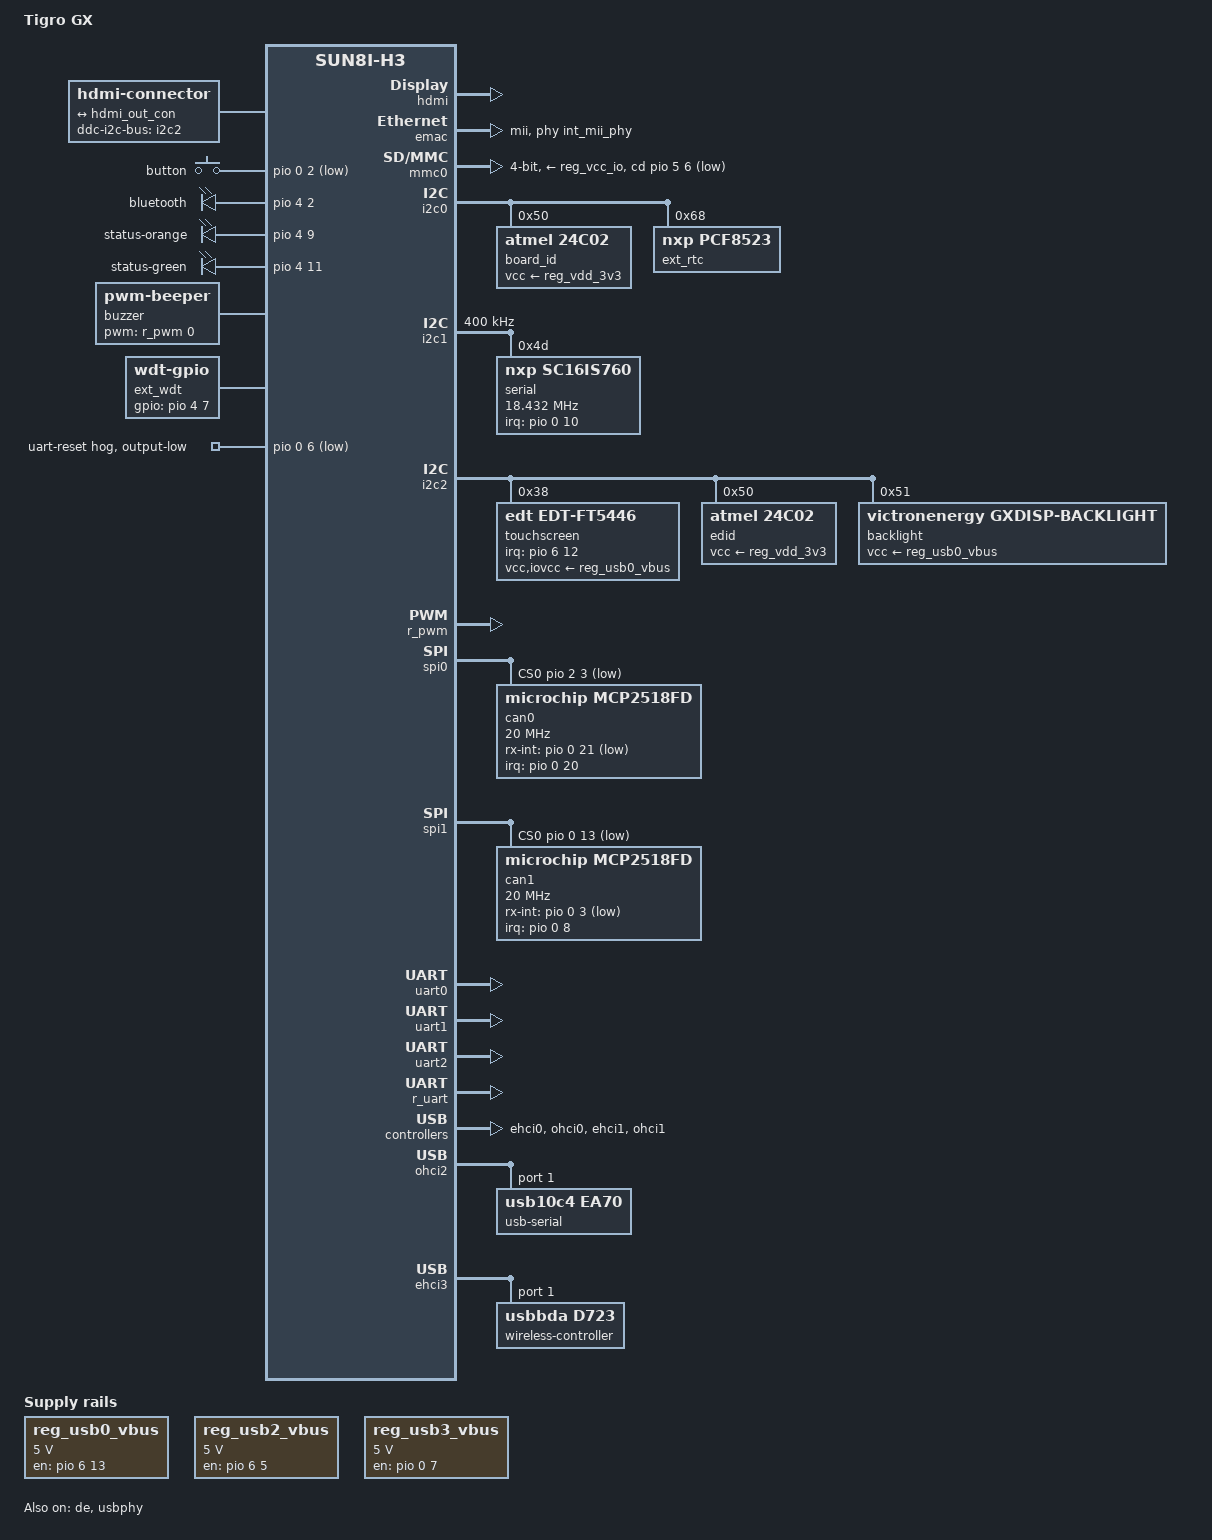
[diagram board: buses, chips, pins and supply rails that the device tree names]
// SPDX-License-Identifier: GPL-2.0 OR X11
/*
 * Copyright (C) 2024 Mans Rullgard <mans@mansr.com>
 */

/dts-v1/;

#include "sun8i-h3-sinh3-core.dtsi"
#include <dt-bindings/input/input.h>

/ {
	model = "Tigro GX";
	compatible = "victronenergy,tigro-gx",
		     "sinlinx,sinh3-core",
		     "allwinner,sun8i-h3";

	aliases {
		ethernet0 = &emac;
		hwmon0 = &cpu_thermal;
		i2c0 = &i2c0;
		i2c1 = &i2c1;
		i2c2 = &i2c2;
		mmc0 = &mmc0;
		mmc1 = &mmc2;
		nvmem0 = &board_id;
		rtc0 = &ext_rtc;
		rtc1 = &rtc;
		serial0 = &uart0;
		serial1 = &uart1;
		serial2 = &uart2;
		serial3 = &r_uart;
		usb-serial0 = &usb_serial0;
		usb-serial1 = &usb_serial1;
		watchdog0 = &ext_wdt;
		watchdog1 = &wdt0;
	};

	hdmi-connector {
		compatible = "hdmi-connector";
		type = "a";
		ddc-i2c-bus = <&i2c2>;

		port {
			hdmi_con_in: endpoint {
				remote-endpoint = <&hdmi_out_con>;
			};
		};
	};

	button {
		compatible = "gpio-keys";

		button {
			linux,code = <KEY_CONFIG>;
			gpios = <&pio 0 2 GPIO_ACTIVE_LOW>; /* PA2 */
		};
	};

	leds {
		compatible = "gpio-leds";

		led-bluetooth {
			label = "bluetooth";
			gpios = <&pio 4 2 GPIO_ACTIVE_HIGH>;	/* PE2 */
			default-state = "off";
		};

		led-status-orange {
			label = "status-orange";
			gpios = <&pio 4 9 GPIO_ACTIVE_HIGH>;	/* PE9 */
			linux,default-trigger = "blink-slow";
		};

		led-status-green {
			label = "status-green";
			gpios = <&pio 4 11 GPIO_ACTIVE_HIGH>;	/* PE11 */
			default-state = "off";
		};
	};

	buzzer {
		compatible = "pwm-beeper";
		pwms = <&r_pwm 0 1000000 0>;
	};

	ext_wdt: watchdog {
		compatible = "linux,wdt-gpio";
		gpios = <&pio 4 7 GPIO_ACTIVE_HIGH>; /* PE7 */
		hw_algo = "toggle";
		hw_margin_ms = <30000>;
		always-running;
	};

	can_clk: can-clk {
		compatible = "fixed-clock";
		#clock-cells = <0>;
		clock-frequency = <40000000>;
	};

	/* External USB connectors */
	reg_usb0_vbus: usb0-vbus {
		compatible = "regulator-fixed";
		regulator-name = "usb0-vbus";
		regulator-min-microvolt = <5000000>;
		regulator-max-microvolt = <5000000>;
		enable-active-high;
		gpio = <&pio 6 13 GPIO_ACTIVE_HIGH>; /* PG13 */
	};

	/* Dual UART */
	reg_usb2_vbus: usb2-vbus {
		compatible = "regulator-fixed";
		regulator-name = "usb2-vbus";
		regulator-min-microvolt = <5000000>;
		regulator-max-microvolt = <5000000>;
		enable-active-high;
		gpio = <&pio 6 5 GPIO_ACTIVE_HIGH>; /* PG5 */
	};

	/* Wifi */
	reg_usb3_vbus: usb3-vbus {
		compatible = "regulator-fixed";
		regulator-name = "usb3-vbus";
		regulator-min-microvolt = <5000000>;
		regulator-max-microvolt = <5000000>;
		enable-active-high;
		gpio = <&pio 0 7 GPIO_ACTIVE_HIGH>; /* PA7 */
	};
};

&de {
	status = "okay";
};

&hdmi {
	status = "okay";
};

&hdmi_out {
	hdmi_out_con: endpoint {
		remote-endpoint = <&hdmi_con_in>;
	};
};

&emac {
	phy-handle = <&int_mii_phy>;
	phy-mode = "mii";
	status = "okay";
};

&mmc0 {
	vmmc-supply = <&reg_vcc_io>;
	bus-width = <4>;
	cd-gpios = <&pio 5 6 GPIO_ACTIVE_LOW>; /* PF6 */
	status = "okay";
};

&i2c0 {
	status = "okay";

	board_id: eeprom@50 {
		compatible = "atmel,24c02";
		reg = <0x50>;
		pagesize = <16>;
		read-only;
		vcc-supply = <&reg_vdd_3v3>;
	};

	ext_rtc: rtc@68 {
		compatible = "nxp,pcf8523";
		status = "okay";
		reg = <0x68>;
	};
};

&i2c1 {
	clock-frequency = <400000>;
	status = "okay";

	/* VE.Direct 3 */
	serial@4d {
		compatible = "nxp,sc16is760";
		reg = <0x4d>;
		clock-frequency = <18432000>;
		interrupt-parent = <&pio>;
		interrupts = <0 10 IRQ_TYPE_EDGE_FALLING>; /* PA10 */
	};
};

&pio {
	uart-reset-hog {
		gpio-hog;
		gpios = <0 6 GPIO_ACTIVE_LOW>;
		output-low;
		line-name = "uart-reset";
	};
};

&i2c2 {
	status = "okay";

	touchscreen@38 {
		compatible = "edt,edt-ft5446", "edt,edt-ft5406";
		reg = <0x38>;
		interrupt-parent = <&pio>;
		interrupts = <6 12 IRQ_TYPE_EDGE_FALLING>; /* PG12 */
		vcc-supply = <&reg_usb0_vbus>;
		iovcc-supply = <&reg_usb0_vbus>;
	};

	edid: eeprom@50 {
		compatible = "atmel,24c02";
		reg = <0x50>;
		pagesize = <16>;
		read-only;
		vcc-supply = <&reg_vdd_3v3>;
	};

	backlight@51 {
		compatible = "victronenergy,gxdisp-backlight";
		reg = <0x51>;
		default-on;
		default-brightness = <15>;
		vcc-supply = <&reg_usb0_vbus>;
	};
};

&r_pwm {
	status = "okay";
};

&spi0 {
	status = "okay";

	assigned-clocks = <&ccu CLK_SPI0>;
	assigned-clock-rates = <600000000>;
	cs-gpios = <&pio 2 3 GPIO_ACTIVE_LOW>;

	/* VE.CAN 1 */
	can0: can@0 {
		compatible = "microchip,mcp2518fd";
		reg = <0>;
		spi-max-frequency = <20000000>;
		clocks = <&can_clk>;
		interrupt-parent = <&pio>;
		interrupts = <0 20 IRQ_TYPE_LEVEL_LOW>; /* PA20 */
		microchip,rx-int-gpios = <&pio 0 21 GPIO_ACTIVE_LOW>; /* PA21 */
	};
};

&spi0_pins {
	pins = "PC0", "PC1", "PC2";
};

&spi1 {
	status = "okay";

	assigned-clocks = <&ccu CLK_SPI1>;
	assigned-clock-rates = <600000000>;
	cs-gpios = <&pio 0 13 GPIO_ACTIVE_LOW>;

	/* VE.CAN 2 */
	can1: can@0 {
		compatible = "microchip,mcp2518fd";
		reg = <0>;
		spi-max-frequency = <20000000>;
		clocks = <&can_clk>;
		interrupt-parent = <&pio>;
		interrupts = <0 8 IRQ_TYPE_LEVEL_LOW>; /* PA8 */
		microchip,rx-int-gpios = <&pio 0 3 GPIO_ACTIVE_LOW>; /* PA3 */
	};
};

&spi1_pins {
	pins = "PA15", "PA16", "PA14";
};

/* Console */
&uart0 {
	pinctrl-names = "default";
	pinctrl-0 = <&uart0_pa_pins>;
	status = "okay";
};

/* VE.Direct 2 */
&uart1 {
	pinctrl-names = "default";
	pinctrl-0 = <&uart1_pins>;
	status = "okay";
};

/* MK3 */
&uart2 {
	pinctrl-names = "default";
	pinctrl-0 = <&uart2_pins>;
	status = "okay";
};

/* VE.Direct 1 */
&r_uart {
	status = "okay";
};

&ehci0 {
	status = "okay";
};

&ohci0 {
	status = "okay";
};

&ehci1 {
	status = "okay";
};

&ohci1 {
	status = "okay";
};

&ohci2 {
	status = "okay";

	#address-cells = <1>;
	#size-cells = <0>;

	usb-serial@1 {
		compatible = "usb10c4,ea70";
		reg = <1>;

		#address-cells = <2>;
		#size-cells = <0>;

		/* VE.Direct 4 */
		usb_serial0: port@0 {
			reg = <0 1>;
		};

		/* VE.Direct 5 */
		usb_serial1: port@1 {
			reg = <1 1>;
		};
	};
};

&ehci3 {
	status = "okay";

	#address-cells = <1>;
	#size-cells = <0>;

	wireless-controller@1 {
		compatible = "usbbda,d723";
		reg = <1>;
	};
};

&usbphy {
	usb0_vbus-supply = <&reg_usb0_vbus>;
	usb1_vbus-supply = <&reg_usb0_vbus>;
	usb2_vbus-supply = <&reg_usb2_vbus>;
	usb3_vbus-supply = <&reg_usb3_vbus>;
	status = "okay";
};

&pio {
	gpio-line-names =
		"mkx_rst",
		"vebus_standby",
		"relay_1";
	gpio-line-numbers =
		<128>,		/* PE0 */
		<131>,		/* PE3 */
		<143>;		/* PE15 */
};
